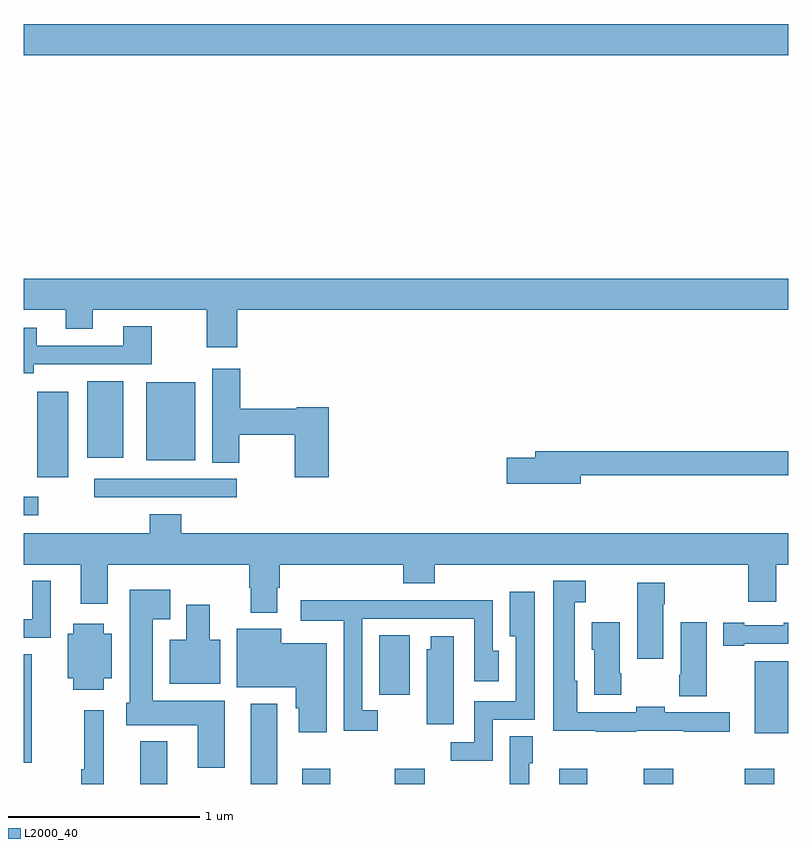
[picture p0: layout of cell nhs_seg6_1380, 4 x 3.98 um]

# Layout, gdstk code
import gdstk
lib = gdstk.Library(unit=1e-6, precision=1e-09)
def R(c, l, rs):  # rectangles x0, y0, x1, y1
    for r in rs: c.add(gdstk.rectangle(r[:2], r[2:], *l))
def P(c, l, *ps):  # polygons
    for p in ps: c.add(gdstk.Polygon(p, *l))
L2000_40 = (2000, 40)

nhs_seg6_1380 = lib.new_cell('nhs_seg6_1380')
R(nhs_seg6_1380, L2000_40, [(195.611,967.5,195.751,967.723), (196.187,967.5,196.327,967.921), (196.457,967.5,196.605,967.579), (196.942,967.5,197.097,967.579), (197.801,967.5,197.949,967.579), (198.244,967.5,198.399,967.579), (198.772,967.5,198.927,967.579), (195,967.611,195.043,968.18), (198.824,967.766,199,968.143), (196.859,967.968,197.02,968.279), (195,968.907,195.076,969.003), (195.369,969,196.114,969.096), (195.071,969.105,195.232,969.553), (195.641,969.194,195.898,969.601), (195.332,969.206,195.52,969.607), (195,971.312,199,971.476)])
P(nhs_seg6_1380, L2000_40, [(196.118,969.98),(199,969.98),(199,970.144),(195,970.144),(195,969.98),(195.221,969.98),(195.221,969.881),(195.361,969.881),(195.361,969.98),(195.958,969.98),(195.958,969.786),(196.118,969.786)],
  [(195.052,969.696),(195.669,969.696),(195.669,969.895),(195.521,969.895),(195.521,969.792),(195.067,969.792),(195.067,969.886),(195,969.886),(195,969.65),(195.052,969.65)],
  [(196.595,969.472),(196.428,969.472),(196.428,969.464),(196.133,969.464),(196.133,969.673),(195.986,969.673),(195.986,969.181),(196.128,969.181),(196.128,969.328),(196.417,969.328),(196.417,969.105),(196.595,969.105)],
  [(197.914,969.114),(199,969.114),(199,969.242),(197.675,969.242),(197.675,969.206),(197.526,969.206),(197.526,969.071),(197.914,969.071)],
  [(196.327,968.528),(196.34,968.528),(196.34,968.648),(196.985,968.648),(196.985,968.549),(197.15,968.549),(197.15,968.648),(198.79,968.648),(198.79,968.454),(198.937,968.454),(198.937,968.648),(199,968.648),(199,968.812),(195.824,968.812),(195.824,968.911),(195.659,968.911),(195.659,968.812),(195,968.812),(195,968.648),(195.299,968.648),(195.299,968.442),(195.439,968.442),(195.439,968.648),(196.18,968.648),(196.18,968.528),(196.187,968.528),(196.187,968.396),(196.327,968.396)],
  [(198.204,967.778),(198.454,967.778),(198.454,967.774),(198.694,967.774),(198.694,967.875),(198.354,967.875),(198.354,967.903),(198.204,967.903),(198.204,967.875),(197.896,967.875),(197.896,968.04),(197.884,968.04),(197.884,968.45),(197.941,968.45),(197.941,968.563),(197.771,968.563),(197.771,967.778),(197.992,967.778),(197.992,967.774),(198.204,967.774)],
  [(195.142,968.563),(195.044,968.563),(195.044,968.361),(195,968.361),(195,968.265),(195.142,968.265)],
  [(198.346,968.441),(198.354,968.441),(198.354,968.554),(198.209,968.554),(198.209,968.154),(198.346,968.154)],
  [(196.051,967.936),(195.676,967.936),(195.676,968.363),(195.766,968.363),(195.766,968.515),(195.554,968.515),(195.554,967.926),(195.536,967.926),(195.536,967.808),(195.911,967.808),(195.911,967.584),(196.051,967.584)],
  [(197.454,967.836),(197.674,967.836),(197.674,968.506),(197.543,968.506),(197.543,968.273),(197.573,968.273),(197.573,967.932),(197.358,967.932),(197.358,967.719),(197.235,967.719),(197.235,967.622),(197.454,967.622)],
  [(196.852,967.887),(196.77,967.887),(196.77,968.364),(197.358,968.364),(197.358,968.037),(197.485,968.037),(197.485,968.196),(197.454,968.196),(197.454,968.462),(197.233,968.462),(197.233,968.46),(196.867,968.46),(196.867,968.462),(196.449,968.462),(196.449,968.354),(196.674,968.354),(196.674,967.779),(196.852,967.779)],
  [(196.027,968.254),(195.973,968.254),(195.973,968.437),(195.851,968.437),(195.851,968.254),(195.764,968.254),(195.764,968.024),(196.027,968.024)],
  [(198.126,968.08),(198.118,968.08),(198.118,968.347),(197.972,968.347),(197.972,968.202),(197.984,968.202),(197.984,967.968),(198.126,967.968)],
  [(198.574,968.347),(198.437,968.347),(198.437,968.071),(198.43,968.071),(198.43,967.96),(198.574,967.96)],
  [(198.769,968.235),(199,968.235),(199,968.344),(198.977,968.344),(198.977,968.331),(198.769,968.331),(198.769,968.344),(198.659,968.344),(198.659,968.223),(198.769,968.223)],
  [(195.418,968.054),(195.46,968.054),(195.46,968.287),(195.418,968.287),(195.418,968.338),(195.26,968.338),(195.26,968.287),(195.23,968.287),(195.23,968.054),(195.26,968.054),(195.26,967.994),(195.418,967.994)],
  [(196.585,968.236),(196.348,968.236),(196.348,968.311),(196.115,968.311),(196.115,968.006),(196.424,968.006),(196.424,967.896),(196.439,967.896),(196.439,967.77),(196.585,967.77)],
  [(197.251,968.272),(197.129,968.272),(197.129,968.205),(197.108,968.205),(197.108,967.812),(197.251,967.812)],
  [(195.419,967.885),(195.316,967.885),(195.316,967.576),(195.301,967.576),(195.301,967.5),(195.419,967.5)],
  [(197.644,967.608),(197.662,967.608),(197.662,967.751),(197.543,967.751),(197.543,967.5),(197.644,967.5)])

lib.write_gds('nhs_seg6_1380.gds')
